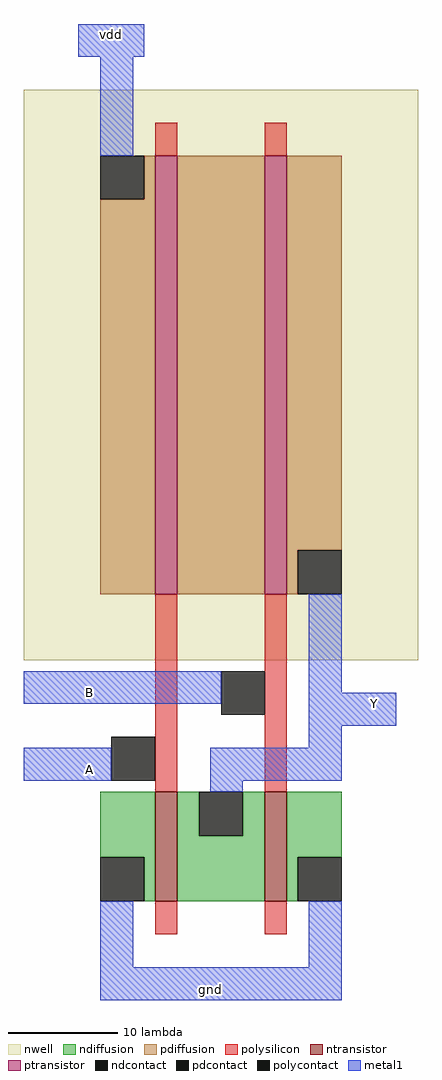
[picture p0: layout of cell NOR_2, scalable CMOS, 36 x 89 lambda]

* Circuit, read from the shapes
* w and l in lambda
.subckt NOR_2 A B Y gnd vdd
M1 Y A gnd VSUBS nfet w=10 l=2
M2 gnd B Y VSUBS nfet w=10 l=2
M3 n1 A vdd n2 pfet w=40 l=2
M4 Y B n1 n2 pfet w=40 l=2
.ends

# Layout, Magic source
magic
tech scmos
<< nwell >>
rect -17 -34 19 18
<< ntransistor >>
rect -5 -56 -3 -46
rect 5 -56 7 -46
<< ptransistor >>
rect -5 -28 -3 12
rect 5 -28 7 12
<< ndiffusion >>
rect -10 -52 -5 -46
rect -6 -56 -5 -52
rect -3 -50 -1 -46
rect 3 -50 5 -46
rect -3 -56 5 -50
rect 7 -52 12 -46
rect 7 -56 8 -52
<< pdiffusion >>
rect -6 8 -5 12
rect -10 -28 -5 8
rect -3 -28 5 12
rect 7 -24 12 12
rect 7 -28 8 -24
<< ndcontact >>
rect -10 -56 -6 -52
rect -1 -50 3 -46
rect 8 -56 12 -52
<< pdcontact >>
rect -10 8 -6 12
rect 8 -28 12 -24
<< polysilicon >>
rect -5 12 -3 15
rect 5 12 7 15
rect -5 -46 -3 -28
rect 5 -46 7 -28
rect -5 -59 -3 -56
rect 5 -59 7 -56
<< polycontact >>
rect -9 -45 -5 -41
rect 1 -39 5 -35
<< metal1 >>
rect -12 21 -6 24
rect -10 12 -7 21
rect -17 -38 1 -35
rect 9 -37 12 -28
rect 9 -40 17 -37
rect -17 -45 -9 -42
rect 9 -42 12 -40
rect 0 -45 12 -42
rect 0 -46 3 -45
rect -10 -62 -7 -56
rect 9 -62 12 -56
rect -10 -65 12 -62
<< labels >>
rlabel metal1 -9 23 -9 23 5 vdd
rlabel metal1 15 -38 15 -38 8 Y
rlabel metal1 -11 -37 -11 -37 1 B
rlabel metal1 -11 -44 -11 -44 1 A
rlabel metal1 0 -64 0 -64 1 gnd
<< end >>
